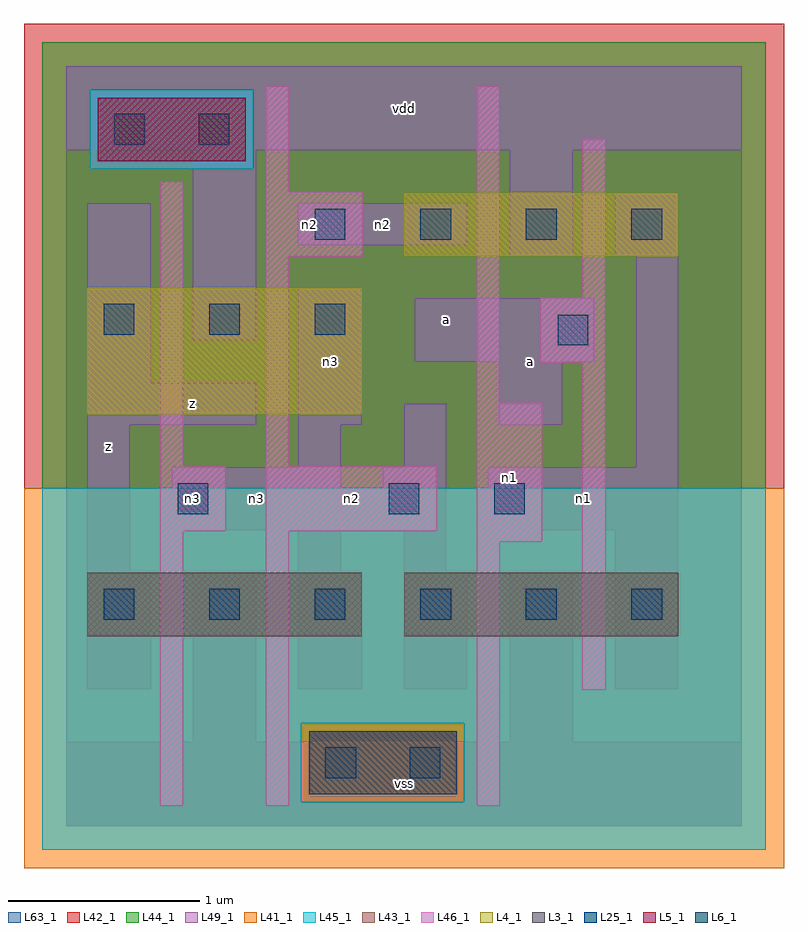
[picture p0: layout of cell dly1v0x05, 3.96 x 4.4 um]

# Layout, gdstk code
import gdstk
lib = gdstk.Library(unit=1e-6, precision=1e-09)
def R(c, l, rs):  # rectangles x0, y0, x1, y1
    for r in rs: c.add(gdstk.rectangle(r[:2], r[2:], *l))
def A(c, l, x, y, w, h, nx, ny, dx, dy):  # array of equal rectangles
    R(c, l, [(x+i*dx, y+j*dy, x+i*dx+w, y+j*dy+h) for i in range(nx) for j in range(ny)])
L3_1 = (3, 1)
L4_1 = (4, 1)
L5_1 = (5, 1)
L6_1 = (6, 1)
L25_1 = (25, 1)
L41_1 = (41, 1)
L42_1 = (42, 1)
L43_1 = (43, 1)
L44_1 = (44, 1)
L45_1 = (45, 1)
L46_1 = (46, 1)
L49_1 = (49, 1)
L63_1 = (63, 1)

dly1v0x05 = lib.new_cell('dly1v0x05')
R(dly1v0x05, L3_1, [(0.11,0.99,1.54,1.32), (1.76,0.99,3.19,1.32)])
R(dly1v0x05, L4_1, [(0.11,2.145,1.54,2.805), (1.76,2.97,3.19,3.3)])
R(dly1v0x05, L5_1, [(0.165,3.465,0.935,3.795)])
R(dly1v0x05, L6_1, [(1.265,0.165,2.035,0.495)])
A(dly1v0x05, L25_1, 0.195, 1.075, 0.16, 0.16, 6, 1, 0.55, 0)
A(dly1v0x05, L25_1, 0.195, 2.56, 0.16, 0.16, 3, 1, 0.55, 0)
A(dly1v0x05, L25_1, 1.295, 3.055, 0.16, 0.16, 4, 1, 0.55, 0)
R(dly1v0x05, L25_1, [(1.35,0.25,1.51,0.41), (1.79,0.25,1.95,0.41), (0.58,1.625,0.74,1.785), (1.68,1.625,1.84,1.785), (2.23,1.625,2.39,1.785), (2.56,2.505,2.72,2.665), (0.25,3.55,0.41,3.71), (0.69,3.55,0.85,3.71)])
R(dly1v0x05, L41_1, [(-0.22,-0.22,3.74,1.76)])
R(dly1v0x05, L42_1, [(-0.22,1.76,3.74,4.18)])
R(dly1v0x05, L43_1, [(1.265,0.165,2.035,0.495), (0.11,0.99,1.54,1.32), (1.76,0.99,3.19,1.32), (0.11,2.145,1.54,2.805), (1.76,2.97,3.19,3.3), (0.165,3.465,0.935,3.795)])
R(dly1v0x05, L44_1, [(1.225,0.125,2.075,0.535), (-0.125,1.76,3.645,3.425), (-0.125,3.425,0.125,3.835), (0.975,3.425,3.645,3.835), (-0.125,3.835,3.645,4.085)])
R(dly1v0x05, L45_1, [(-0.125,-0.125,3.645,0.125), (-0.125,0.125,1.225,0.535), (2.075,0.125,3.645,0.535), (-0.125,0.535,3.645,1.76), (0.125,3.425,0.975,3.835)])
R(dly1v0x05, L46_1, [(0.49,0.105,0.61,1.535), (1.04,0.105,1.16,1.535), (2.14,0.105,2.26,1.48), (2.69,0.71,2.81,2.415), (2.14,1.48,2.48,2.205), (0.49,1.535,0.83,1.875), (1.04,1.535,1.93,1.875), (0.49,1.875,0.61,3.36), (1.04,1.875,1.16,2.965), (2.14,2.205,2.26,3.855), (2.47,2.415,2.81,2.755), (2.69,2.755,2.81,3.58), (1.04,2.965,1.545,3.305), (1.04,3.305,1.16,3.855)])
R(dly1v0x05, L49_1, [(0,0,3.52,0.44), (0.66,0.44,0.99,1.32), (2.31,0.44,2.64,1.32), (0.11,0.715,0.44,1.32), (1.21,0.715,1.54,1.32), (1.76,0.715,2.09,1.32), (2.86,0.715,3.19,1.54), (0.11,1.32,0.33,2.09), (1.21,1.32,1.43,1.54), (1.76,1.32,1.98,1.54), (0.55,1.54,1.43,1.87), (1.65,1.54,1.98,1.87), (2.2,1.54,3.19,1.87), (1.21,1.87,1.43,2.09), (1.76,1.87,1.98,2.2), (2.97,1.87,3.19,2.97), (0.11,2.09,0.99,2.31), (1.21,2.09,1.54,2.805), (2.255,2.09,2.585,2.42), (0.11,2.31,0.44,3.245), (1.815,2.42,2.75,2.75), (0.66,2.53,0.99,3.52), (2.31,2.97,2.64,3.52), (2.86,2.97,3.19,3.3), (1.21,3.025,2.09,3.245), (0,3.52,3.52,3.96)])
R(dly1v0x05, L63_1, [(0,0,3.52,3.96)])
dly1v0x05.add(gdstk.Label('n3', (0.66,1.705), layer=49, texttype=1))
dly1v0x05.add(gdstk.Label('n2', (1.485,1.705), layer=46, texttype=1))
dly1v0x05.add(gdstk.Label('n2', (1.265,3.135), layer=46, texttype=1))
dly1v0x05.add(gdstk.Label('n1', (2.31,1.815), layer=46, texttype=1))
dly1v0x05.add(gdstk.Label('z', (0.66,2.2), layer=49, texttype=1))
dly1v0x05.add(gdstk.Label('z', (0.22,1.98), layer=49, texttype=1))
dly1v0x05.add(gdstk.Label('n3', (0.99,1.705), layer=49, texttype=1))
dly1v0x05.add(gdstk.Label('n3', (1.375,2.42), layer=49, texttype=1))
dly1v0x05.add(gdstk.Label('vss', (1.76,0.22), layer=49, texttype=1))
dly1v0x05.add(gdstk.Label('a', (1.98,2.64), layer=49, texttype=1))
dly1v0x05.add(gdstk.Label('a', (2.42,2.42), layer=49, texttype=1))
dly1v0x05.add(gdstk.Label('n2', (1.65,3.135), layer=49, texttype=1))
dly1v0x05.add(gdstk.Label('vdd', (1.76,3.74), layer=49, texttype=1))
dly1v0x05.add(gdstk.Label('n1', (2.695,1.705), layer=49, texttype=1))

lib.write_gds('dly1v0x05.gds')
